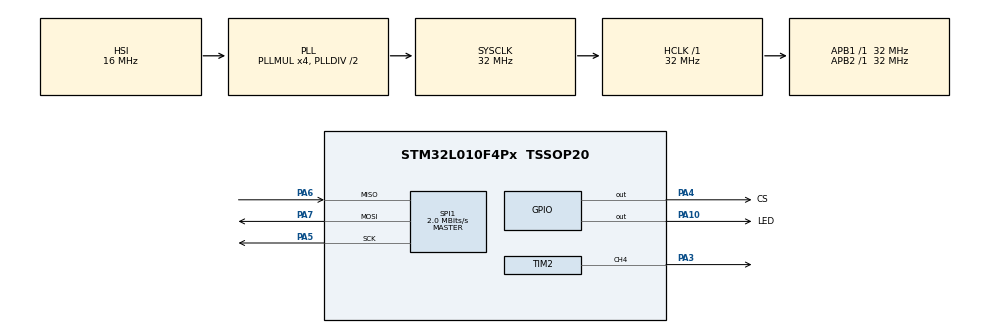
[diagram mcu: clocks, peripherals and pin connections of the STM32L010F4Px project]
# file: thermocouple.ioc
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Mcu.Family=STM32L0
Mcu.Name=STM32L010F4Px
Mcu.Package=TSSOP20
PA10.GPIO_Label=LED
PA10.Signal=GPIO_Output
PA13.Mode=Serial_Wire
PA13.Signal=SYS_SWDIO
PA14.Mode=Serial_Wire
PA14.Signal=SYS_SWCLK
PA3.Signal=S_TIM2_CH4
PA4.GPIO_Label=CS
PA4.PinState=GPIO_PIN_SET
PA4.Signal=GPIO_Output
PA5.Mode=Full_Duplex_Master
PA5.Signal=SPI1_SCK
PA6.Mode=Full_Duplex_Master
PA6.Signal=SPI1_MISO
PA7.Mode=Full_Duplex_Master
PA7.Signal=SPI1_MOSI
ProjectManager.HeapSize=0x200
ProjectManager.StackSize=0x400
ProjectManager.TargetToolchain=STM32CubeIDE
RCC.AHBFreq_Value=32000000
RCC.APB1Freq_Value=32000000
RCC.APB1TimFreq_Value=32000000
RCC.APB2Freq_Value=32000000
RCC.APB2TimFreq_Value=32000000
RCC.HCLKFreq_Value=32000000
RCC.HSE_VALUE=8000000
RCC.HSI16_VALUE=16000000
RCC.HSI_VALUE=16000000
RCC.LSE_VALUE=32768
RCC.MSI_VALUE=2097000
RCC.PLLMUL=RCC_PLLMUL_4
RCC.SYSCLKFreq_VALUE=32000000
RCC.SYSCLKSource=RCC_SYSCLKSOURCE_PLLCLK
RCC.VCOOutputFreq_Value=64000000
SH.S_TIM2_CH4.0=TIM2_CH4,PWM Generation4 CH4
SPI1.BaudRatePrescaler=SPI_BAUDRATEPRESCALER_16
SPI1.CalculateBaudRate=2.0 MBits/s
SPI1.DataSize=SPI_DATASIZE_8BIT
SPI1.Direction=SPI_DIRECTION_2LINES
SPI1.Mode=SPI_MODE_MASTER
SPI1.TIMode=SPI_TIMODE_DISABLE
SPI1.VirtualType=VM_MASTER
TIM2.AutoReloadPreload=TIM_AUTORELOAD_PRELOAD_ENABLE
TIM2.Channel-PWM\ Generation4\ CH4=TIM_CHANNEL_4
TIM2.Period=33
VP_TIM2_VS_ClockSourceINT.Mode=Internal
board=custom

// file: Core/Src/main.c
/* USER CODE BEGIN Header */
/**
  ******************************************************************************
  * @file           : main.c
  * @brief          : Main program body
  ******************************************************************************
  * @attention
  *
  * Copyright (c) 2023 STMicroelectronics.
  * All rights reserved.
  *
  * This software is licensed under terms that can be found in the LICENSE file
  * in the root directory of this software component.
  * If no LICENSE file comes with this software, it is provided AS-IS.
  *
  ******************************************************************************
  */
/* USER CODE END Header */
#include "main.h"

/* USER CODE BEGIN Includes */
#include "math.h"
/* USER CODE END Includes */

SPI_HandleTypeDef hspi1;

TIM_HandleTypeDef htim2;

/* USER CODE BEGIN PV */
// code from https://github.com/McGillRocketTeam/avionics-2023/blob/dev_Propulsion/Propulsion/Test%20Site/MAX31855%20to%20Teensy%20to%20Analog/MAX31855_TO_ANALOG/MAX31855_TO_ANALOG.ino
// limits
#define TEMPERATURE_MIN           -50.0
#define TEMPERATURE_MAX           50.0
#define DUTY_CYCLE_MIN            (0.1 * __HAL_TIM_GET_AUTORELOAD(&htim2))
#define DUTY_CYCLE_MAX            (0.9 * __HAL_TIM_GET_AUTORELOAD(&htim2))
#define DUTY_CYCLE_ERROR_UNDER_TEMP  (0.05 * __HAL_TIM_GET_AUTORELOAD(&htim2))   // if temperature read is outisde the min/max range,
#define DUTY_CYCLE_ERROR_OVER_TEMP   (0.95 * __HAL_TIM_GET_AUTORELOAD(&htim2))   // then indicate it using these error voltages
#define TEMP_TO_VOLTAGE_SLOPE     (DUTY_CYCLE_MAX - DUTY_CYCLE_MIN) / (TEMPERATURE_MAX - TEMPERATURE_MIN)
uint32_t convertTempToPWM(float temp) {
  uint32_t dutycycle = DUTY_CYCLE_ERROR_UNDER_TEMP;
  int errorOccurred = 0;

  // check if temperature is in the range we need
  if (temp < TEMPERATURE_MIN || isnan(temp)) {
    dutycycle = DUTY_CYCLE_ERROR_UNDER_TEMP;
    errorOccurred = 1;
  }
  else if (temp > TEMPERATURE_MAX) {
    dutycycle = DUTY_CYCLE_ERROR_OVER_TEMP;
    errorOccurred = 1;
  }
  else {
	  dutycycle = TEMP_TO_VOLTAGE_SLOPE * (temp - TEMPERATURE_MIN);
  }

  // now convert to value to be written using analogWrite()
  if (errorOccurred == 0) {
	  dutycycle += DUTY_CYCLE_MIN;
  }

  return dutycycle;
}
/* USER CODE END PV */

void SystemClock_Config(void);
static void MX_GPIO_Init(void);
static void MX_SPI1_Init(void);
static void MX_TIM2_Init(void);
/* USER CODE BEGIN PFP */
// code from https://github.com/McGillRocketTeam/avionics-2023/blob/dev_FlightComputer/Flight%20Computer/Projects/2023-PropulsionTopBoard/2023PropTop_VA1/Drivers/MRT/MAX31855/MAX31855.c

// ------------------- Variables ----------------

uint8_t Error=0;                                      	// Thermocouple Connection acknowledge Flag
uint32_t sign=0;									  	// Sign bit
uint8_t DATARX[4];                                    	// Raw Data from MAX6675
//uint8_t DATATX = {0xFF, 0xFF, 0xFF, 0xFF};         	// Raw Data from MAX6675
float thermocoupleTemperature;

// ------------------- Functions ----------------
float Max31855_Read_Temp(void) {
	HAL_GPIO_WritePin(CS_GPIO_Port, CS_Pin, GPIO_PIN_RESET); 	// Low State for SPI Communication
	HAL_StatusTypeDef spiStatus = HAL_SPI_Receive(&hspi1, DATARX, 4, 1000);		// DATA Transfer
	HAL_GPIO_WritePin(CS_GPIO_Port, CS_Pin, GPIO_PIN_SET);   	// High State for SPI Communication

	uint32_t v = DATARX[3] | (DATARX[2] << 8) | (DATARX[1] << 16) | (DATARX[0] << 24);

	Error = v & 0x07;								  	// Error Detection

	uint8_t errorCode = 0;
	if (v & 0x7) {
		// uh oh, a serious problem!
		if (v & 0x1) {
		  errorCode = 1; // open circuit
		}

		if (v & 0x2) {
			errorCode = 2; // short to gnd
		}

		if (v & 0x4) {
			errorCode = 4; // short to vcc
		}
		Error = 1;
		return thermocoupleTemperature;
	}
	else {
		Error = 0;
	}

	if (v & 0x80000000) {
		// Negative value, drop the lower 18 bits and explicitly extend sign bits.
		v = 0xFFFFC000 | ((v >> 18) & 0x00003FFF);
	} else {
		// Positive value, just drop the lower 18 bits.
		v >>= 18;
	}

	double centigrade = v;

	// LSB = 0.25 degrees C
	centigrade *= 0.25;
	return centigrade;
}
/* USER CODE END PFP */

/* USER CODE BEGIN 0 */
uint32_t pwmDutyCycle = 0;
uint32_t delay = 1000;
uint32_t i = 0;
//uint8_t ledState = GPIO_PIN_RESET;
/* USER CODE END 0 */

int main(void)
{

  /* MCU Configuration--------------------------------------------------------*/

  /* Reset of all peripherals, Initializes the Flash interface and the Systick. */
  HAL_Init();

  /* Configure the system clock */
  SystemClock_Config();

  /* Initialize all configured peripherals */
  MX_GPIO_Init();
  MX_SPI1_Init();
  MX_TIM2_Init();
  /* USER CODE BEGIN 2 */
  /* Start the PWM generation */
  HAL_TIM_PWM_Start(&htim2, TIM_CHANNEL_4);
  /* USER CODE END 2 */

  /* Infinite loop */
  /* USER CODE BEGIN WHILE */
  while (1)
  {
//	  HAL_GPIO_TogglePin(LED_GPIO_Port, LED_Pin); // Toggle the LED pin
//
//	  HAL_Delay(delay); // Delay for 1 second

	  thermocoupleTemperature = Max31855_Read_Temp();
	  float temp = thermocoupleTemperature;
	  // Calculate the proportional value for PWM frequency
	  pwmDutyCycle = (uint32_t)convertTempToPWM(thermocoupleTemperature);

//	  pwmDutyCycle = (uint32_t)(0.1*i * __HAL_TIM_GET_AUTORELOAD(&htim2));
//	  i++;
//	  if (i==10) {
//		  i=0;
//	  }

	  if (Error==1) {
		  HAL_GPIO_WritePin(LED_GPIO_Port, LED_Pin, GPIO_PIN_RESET);
	  }
	  else {
		  HAL_GPIO_WritePin(LED_GPIO_Port, LED_Pin, GPIO_PIN_SET);
	  }

	  // Set PWM duty cycle
	  __HAL_TIM_SET_COMPARE(&htim2, TIM_CHANNEL_4, pwmDutyCycle);
    /* USER CODE END WHILE */

  }
}

void SystemClock_Config(void)
{
  RCC_OscInitTypeDef RCC_OscInitStruct = {0};
  RCC_ClkInitTypeDef RCC_ClkInitStruct = {0};

  /** Configure the main internal regulator output voltage
  */
  __HAL_PWR_VOLTAGESCALING_CONFIG(PWR_REGULATOR_VOLTAGE_SCALE1);

  /** Initializes the RCC Oscillators according to the specified parameters
  * in the RCC_OscInitTypeDef structure.
  */
  RCC_OscInitStruct.OscillatorType = RCC_OSCILLATORTYPE_HSI;
  RCC_OscInitStruct.HSIState = RCC_HSI_ON;
  RCC_OscInitStruct.HSICalibrationValue = RCC_HSICALIBRATION_DEFAULT;
  RCC_OscInitStruct.PLL.PLLState = RCC_PLL_ON;
  RCC_OscInitStruct.PLL.PLLSource = RCC_PLLSOURCE_HSI;
  RCC_OscInitStruct.PLL.PLLMUL = RCC_PLLMUL_4;
  RCC_OscInitStruct.PLL.PLLDIV = RCC_PLLDIV_2;
  if (HAL_RCC_OscConfig(&RCC_OscInitStruct) != HAL_OK)
  {
    Error_Handler();
  }

  /** Initializes the CPU, AHB and APB buses clocks
  */
  RCC_ClkInitStruct.ClockType = RCC_CLOCKTYPE_HCLK|RCC_CLOCKTYPE_SYSCLK
                              |RCC_CLOCKTYPE_PCLK1|RCC_CLOCKTYPE_PCLK2;
  RCC_ClkInitStruct.SYSCLKSource = RCC_SYSCLKSOURCE_PLLCLK;
  RCC_ClkInitStruct.AHBCLKDivider = RCC_SYSCLK_DIV1;
  RCC_ClkInitStruct.APB1CLKDivider = RCC_HCLK_DIV1;
  RCC_ClkInitStruct.APB2CLKDivider = RCC_HCLK_DIV1;

  if (HAL_RCC_ClockConfig(&RCC_ClkInitStruct, FLASH_LATENCY_1) != HAL_OK)
  {
    Error_Handler();
  }
}

static void MX_SPI1_Init(void)
{

  /* SPI1 parameter configuration*/
  hspi1.Instance = SPI1;
  hspi1.Init.Mode = SPI_MODE_MASTER;
  hspi1.Init.Direction = SPI_DIRECTION_2LINES;
  hspi1.Init.DataSize = SPI_DATASIZE_8BIT;
  hspi1.Init.CLKPolarity = SPI_POLARITY_LOW;
  hspi1.Init.CLKPhase = SPI_PHASE_1EDGE;
  hspi1.Init.NSS = SPI_NSS_SOFT;
  hspi1.Init.BaudRatePrescaler = SPI_BAUDRATEPRESCALER_16;
  hspi1.Init.FirstBit = SPI_FIRSTBIT_MSB;
  hspi1.Init.TIMode = SPI_TIMODE_DISABLE;
  hspi1.Init.CRCCalculation = SPI_CRCCALCULATION_DISABLE;
  hspi1.Init.CRCPolynomial = 7;
  if (HAL_SPI_Init(&hspi1) != HAL_OK)
  {
    Error_Handler();
  }

}

static void MX_TIM2_Init(void)
{

  TIM_ClockConfigTypeDef sClockSourceConfig = {0};
  TIM_MasterConfigTypeDef sMasterConfig = {0};
  TIM_OC_InitTypeDef sConfigOC = {0};

  htim2.Instance = TIM2;
  htim2.Init.Prescaler = 0;
  htim2.Init.CounterMode = TIM_COUNTERMODE_UP;
  htim2.Init.Period = 33;
  htim2.Init.ClockDivision = TIM_CLOCKDIVISION_DIV1;
  htim2.Init.AutoReloadPreload = TIM_AUTORELOAD_PRELOAD_ENABLE;
  if (HAL_TIM_Base_Init(&htim2) != HAL_OK)
  {
    Error_Handler();
  }
  sClockSourceConfig.ClockSource = TIM_CLOCKSOURCE_INTERNAL;
  if (HAL_TIM_ConfigClockSource(&htim2, &sClockSourceConfig) != HAL_OK)
  {
    Error_Handler();
  }
  if (HAL_TIM_PWM_Init(&htim2) != HAL_OK)
  {
    Error_Handler();
  }
  sMasterConfig.MasterOutputTrigger = TIM_TRGO_RESET;
  sMasterConfig.MasterSlaveMode = TIM_MASTERSLAVEMODE_DISABLE;
  if (HAL_TIMEx_MasterConfigSynchronization(&htim2, &sMasterConfig) != HAL_OK)
  {
    Error_Handler();
  }
  sConfigOC.OCMode = TIM_OCMODE_PWM1;
  sConfigOC.Pulse = 0;
  sConfigOC.OCPolarity = TIM_OCPOLARITY_HIGH;
  sConfigOC.OCFastMode = TIM_OCFAST_DISABLE;
  if (HAL_TIM_PWM_ConfigChannel(&htim2, &sConfigOC, TIM_CHANNEL_4) != HAL_OK)
  {
    Error_Handler();
  }
  HAL_TIM_MspPostInit(&htim2);

}

static void MX_GPIO_Init(void)
{
  GPIO_InitTypeDef GPIO_InitStruct = {0};

  /* GPIO Ports Clock Enable */
  __HAL_RCC_GPIOA_CLK_ENABLE();

  /*Configure GPIO pin Output Level */
  HAL_GPIO_WritePin(CS_GPIO_Port, CS_Pin, GPIO_PIN_SET);

  /*Configure GPIO pin Output Level */
  HAL_GPIO_WritePin(LED_GPIO_Port, LED_Pin, GPIO_PIN_SET);

  /*Configure GPIO pins : CS_Pin LED_Pin */
  GPIO_InitStruct.Pin = CS_Pin|LED_Pin;
  GPIO_InitStruct.Mode = GPIO_MODE_OUTPUT_PP;
  GPIO_InitStruct.Pull = GPIO_NOPULL;
  GPIO_InitStruct.Speed = GPIO_SPEED_FREQ_LOW;
  HAL_GPIO_Init(GPIOA, &GPIO_InitStruct);

}

void Error_Handler(void)
{
  __disable_irq();
  while (1)
  {
  }
}
